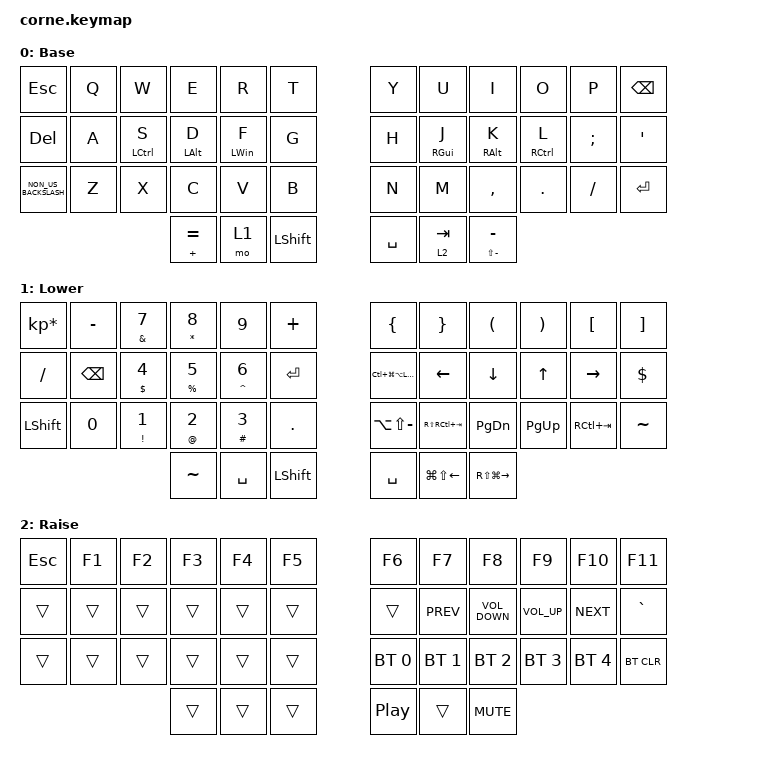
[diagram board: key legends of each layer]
/*
 * Copyright (c) 2020 The ZMK Contributors
 *
 * SPDX-License-Identifier: MIT
 */

#include <behaviors.dtsi>
#include <dt-bindings/zmk/bt.h>
#include <dt-bindings/zmk/keys.h>

/ {
    behaviors {
        HMR: HMR {
            compatible = "zmk,behavior-hold-tap";
            label = "HMR";
            bindings = <&kp>, <&kp>;

            #binding-cells = <2>;
            tapping-term-ms = <280>;
            quick-tap-ms = <175>;
            flavor = "tap-preferred";
            hold-trigger-key-positions = <0 1 2 3 4 5 12 13 14 15 16 17 24 25 26 27 28 29 36 37 38 39 40 41>;
            hold-trigger-on-release;
        };

        HML: HML {
            compatible = "zmk,behavior-hold-tap";
            label = "HML";
            bindings = <&kp>, <&kp>;

            #binding-cells = <2>;
            tapping-term-ms = <280>;
            quick-tap-ms = <175>;
            flavor = "tap-preferred";
            hold-trigger-key-positions = <6 7 8 9 10 11 18 19 20 21 22 23 30 31 32 33 34 35 39 40 41 38 37 36>;
            hold-trigger-on-release;
        };
    };

    keymap {
        compatible = "zmk,keymap";

        default_layer {
            // -----------------------------------------------------------------------------------------
            // |  TAB |  Q  |  W  |  E  |  R  |  T  |   |  Y  |  U   |  I  |  O  |  P  | BKSP |
            // | CTRL |  A  |  S  |  D  |  F  |  G  |   |  H  |  J   |  K  |  L  |  ;  |  '   |
            // | SHFT |  Z  |  X  |  C  |  V  |  B  |   |  N  |  M   |  ,  |  .  |  /  | ESC  |
            //                    | GUI | LWR | SPC |   | ENT | RSE  | ALT |

            display-name = "Base";
            bindings = <
&kp ESCAPE            &kp Q  &kp W                &kp E            &kp R            &kp T             &kp Y      &kp U             &kp I                 &kp O                 &kp P     &kp BSPC
&kp DELETE            &kp A  &HML LEFT_CONTROL S  &HML LEFT_ALT D  &HML LEFT_WIN F  &kp G             &kp H      &HMR RIGHT_GUI J  &HMR RIGHT_ALT K      &HMR RIGHT_CONTROL L  &kp SEMI  &kp SQT
&kp NON_US_BACKSLASH  &kp Z  &kp X                &kp C            &kp V            &kp B             &kp N      &kp M             &kp COMMA             &kp DOT               &kp FSLH  &kp ENTER
                                                  &HML PLUS EQUAL  &mo 1            &kp LEFT_SHIFT    &kp SPACE  &lt 2 TAB         &HMR LS(MINUS) MINUS
            >;
        };

        lower_layer {
            // -----------------------------------------------------------------------------------------
            // |  TAB |  1  |  2  |  3  |  4  |  5  |   |  6  |  7  |  8  |  9  |  0  | BKSP |
            // | BTCLR| BT1 | BT2 | BT3 | BT4 | BT5 |   | LFT | DWN |  UP | RGT |     |      |
            // | SHFT |     |     |     |     |     |   |     |     |     |     |     |      |
            //                    | GUI |     | SPC |   | ENT |     | ALT |

            display-name = "Lower";
            bindings = <
&kp KP_MULTIPLY  &kp MINUS      &mt AMPERSAND N7          &mt ASTERISK N8       &kp N9              &kp PLUS          &kp LEFT_BRACE              &kp RIGHT_BRACE   &kp LEFT_PARENTHESIS  &kp RIGHT_PARENTHESIS  &kp LEFT_BRACKET  &kp RIGHT_BRACKET
&kp SLASH        &kp BACKSPACE  &mt DOLLAR NUMBER_4       &mt PERCENT N5        &mt CARET NUMBER_6  &kp ENTER         &kp LC(LG(LA(LEFT_SHIFT)))  &kp LEFT          &kp DOWN              &kp UP                 &kp RIGHT         &kp DOLLAR
&kp LSHFT        &kp N0         &mt EXCLAMATION NUMBER_1  &mt AT_SIGN NUMBER_2  &mt HASH NUMBER_3   &kp PERIOD        &kp LA(LS(MINUS))           &kp RS(RC(TAB))   &kp PG_DN             &kp PG_UP              &kp RC(TAB)       &kp TILDE
                                                          &kp TILDE             &kp SPACE           &kp LEFT_SHIFT    &kp SPACE                   &kp LG(LS(LEFT))  &kp RS(LG(RIGHT))
            >;
        };

        raise_layer {
            // -----------------------------------------------------------------------------------------
            // |  TAB |  !  |  @  |  #  |  $  |  %  |   |  ^  |  &  |  *  |  (  |  )  | BKSP |
            // | CTRL |     |     |     |     |     |   |  -  |  =  |  [  |  ]  |  \  |  `   |
            // | SHFT |     |     |     |     |     |   |  _  |  +  |  {  |  }  | "|" |  ~   |
            //                    | GUI |     | SPC |   | ENT |     | ALT |

            display-name = "Raise";
            bindings = <
&kp ESC  &kp F1  &kp F2  &kp F3  &kp F4  &kp F5    &kp F6        &kp F7        &kp F8             &kp F9        &kp F10       &kp F11
&trans   &trans  &trans  &trans  &trans  &trans    &trans        &kp C_PREV    &kp K_VOLUME_DOWN  &kp K_VOL_UP  &kp C_NEXT    &kp GRAVE
&trans   &trans  &trans  &trans  &trans  &trans    &bt BT_SEL 0  &bt BT_SEL 1  &bt BT_SEL 2       &bt BT_SEL 3  &bt BT_SEL 4  &bt BT_CLR
                         &trans  &trans  &trans    &kp C_PP      &trans        &kp C_MUTE
            >;
        };

        extra_1 { status = "reserved"; };

        extra_2 { status = "reserved"; };

        extra_3 { status = "reserved"; };
    };
};
